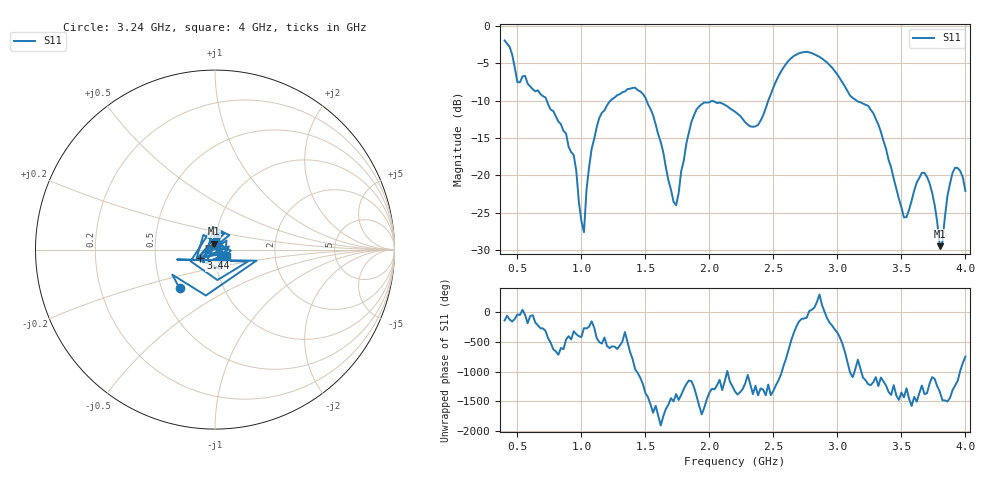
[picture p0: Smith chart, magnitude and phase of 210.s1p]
!Created with skrf (http://scikit-rf.org).
# Hz S RI R 50.0
!freq ReS11 ImS11
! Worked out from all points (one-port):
!   181 points, 400 MHz to 4 GHz, reference 50 ohm
!   lowest |S11| = -29.5 dB at 3.8 GHz (marker M1), VSWR 1.07, Z = 49.2 + j3.25 ohm
!   |S11| at or under -10 dB: 729.4 MHz to 1.228 GHz (498.1 MHz wide, 50.9 % of centre); 1.509 GHz to 2.46 GHz (950.2 MHz wide, 47.9 % of centre); 3.15 GHz to end of sweep
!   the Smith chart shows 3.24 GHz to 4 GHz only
!   S11 on the Smith chart (normalised r, x): 3.24 GHz: 0.62, -0.29; 3.44 GHz: 0.85, -0.08; 4 GHz: 1.15, -0.09
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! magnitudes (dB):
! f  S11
! 400 MHz  -1.9
! 500 MHz  -7.5
! 720 MHz  -9.6
! 860 MHz  -14.0
! 940 MHz  -17.3
! 1.02 GHz  -27.6
! 1.06 GHz  -18.9
! 1.12 GHz  -13.5
! 1.3 GHz  -9.1
! 1.5 GHz  -9.6
! 1.72 GHz  -23.5
! 1.76 GHz  -22.3
! 1.82 GHz  -15.7
! 1.9 GHz  -11.2
! 2.2 GHz  -11.5
! 2.38 GHz  -13.2
! 2.66 GHz  -4.0
! 2.88 GHz  -4.4
! 3.1 GHz  -9.3
! 3.24 GHz  -10.7
! 3.44 GHz  -20.4
! 3.52 GHz  -25.6
! 3.56 GHz  -24.6
! 3.68 GHz  -19.7
! 3.74 GHz  -22.3
! 3.8 GHz  -29.5
! 3.9 GHz  -19.6
! 4 GHz  -22.1
